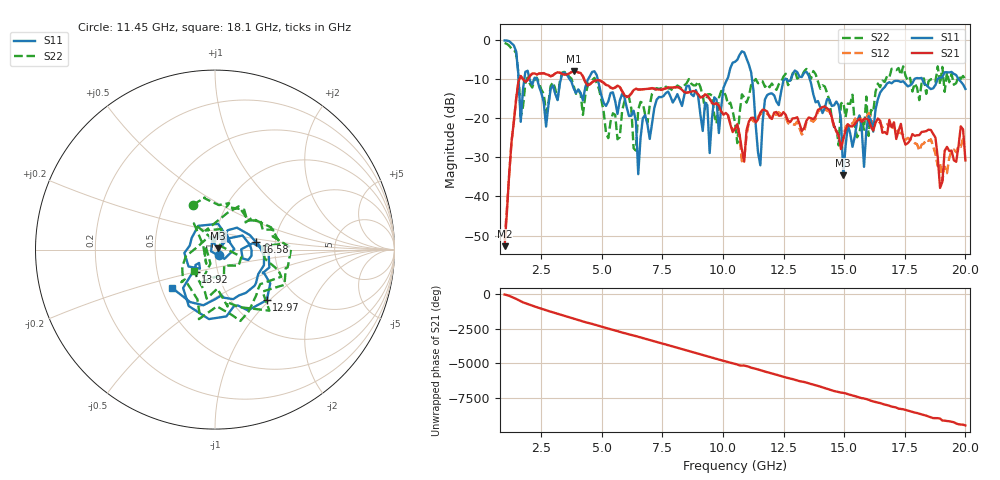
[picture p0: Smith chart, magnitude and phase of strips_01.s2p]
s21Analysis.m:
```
clear all;
close all
filename = 'strips_01.s2p';
TDM = zeros(201, 25);
TScale = linspace(0, 200/16, 201);
ExScale = 1:25;
for i = 1:9
    filename(9) = num2str(i,2);
    Fnames(i,:) = filename;
end
for i = 10:19
    filename(8) = num2str(1,2);
    filename(9) = num2str(i-10,2);
    Fnames(i,:) = filename;
end
for i = 20:25
    filename(8) = num2str(2,2);
    filename(9) = num2str(i-20,2);
    Fnames(i,:) = filename;
end 


for i = 1 : 25
    name = Fnames(i,:);
    dat = sparameters(name);
    
    s21 = dat.Parameters(2,1,:);
    x = s21;
    s21 = reshape(x,size(x,3),size(x,1)*size(x,2));
    
    td = ifft(s21);
    TDM(:,i) = td;
end

dat = sparameters('mid_air.s2p');
s21 = dat.Parameters(2,1,:);
x = s21;
s21 = reshape(x,size(x,3),size(x,1)*size(x,2));
mid_air = ifft(s21);

figure
imagesc(ExScale, TScale, db(TDM));
colorbar;
caxis([-70 -30]);
title('strips-time-position')
grid;

sub = db(TDM) - db(TDM(:,13)) * ones(1,25);
figure;
imagesc(ExScale, TScale, sub);
colorbar;
title('strips-time-position-substract-center')
caxis([-30 20]);

sub = db(TDM) - db(mid_air) * ones(1,25);
figure;
imagesc(ExScale, TScale, sub);
colorbar;
title('strips-time-position-substract-center-air')
caxis([-30 20]);
```
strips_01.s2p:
!Agilent Technologies,N5230A,MY45001629,A.07.50.67
!Agilent N5230A: A.07.50.67
!Date: Monday, June 05, 2017 16:31:58
!Correction: S11(Full 2 Port(1,2))
!S21(Full 2 Port(1,2))
!S12(Full 2 Port(1,2))
!S22(Full 2 Port(1,2))
!S2P File: Measurements: S11, S21, S12, S22:
# Hz S  dB  R 50
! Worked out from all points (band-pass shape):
!   201 points, 1 GHz to 20 GHz, reference 50 ohm
!   highest |S21| = -8.13 dB at 3.85 GHz (marker M1); lowest = -52.7 dB at 1 GHz (marker M2)
!   |S21| within 3 dB of the highest: 1.561 GHz to 4.36 GHz (2.799 GHz wide, 94.5 % of centre); 4.568 GHz to 5.1 GHz (531.7 MHz wide, 11 % of centre)
!   lowest |S11| = -34.6 dB at 14.96 GHz (marker M3), VSWR 1.04, Z = 51.7 + j0.849 ohm
!   |S11| at or under -10 dB: 4.835 GHz to 10.19 GHz (5.352 GHz wide, 71.2 % of centre); 11.2 GHz to 12.58 GHz (1.379 GHz wide, 11.6 % of centre); 13.58 GHz to 17.91 GHz (4.329 GHz wide, 27.5 % of centre)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
!   |S22| runs from -28.3 to -0.9 dB; largest |S21 - S12| = 0.04
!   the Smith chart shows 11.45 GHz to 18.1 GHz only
!   S11 on the Smith chart (normalised r, x): 11.45 GHz: 1.05, -0.06; 12.97 GHz: 1.43, -0.96; 13.92 GHz: 0.78, -0.20; 16.58 GHz: 1.58, +0.14; 18.1 GHz: 0.57, -0.27
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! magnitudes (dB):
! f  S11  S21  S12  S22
! 1 GHz  -0.2  -52.7  -51.1  -0.9
! 1.57 GHz  -9.0  -10.7  -10.7  -8.6
! 3.85 GHz  -12.5  -8.1  -8.1  -11.9
! 10.5 GHz  -5.7  -22.8  -22.7  -21.2
! 11.45 GHz  -28.8  -20.4  -19.7  -11.1
! 12.97 GHz  -7.9  -20.1  -21.7  -8.0
! 13.92 GHz  -15.7  -17.9  -18.4  -10.7
! 14.96 GHz  -34.6  -25.4  -25.2  -16.0
! 16.58 GHz  -12.7  -23.8  -22.4  -10.5
! 18.1 GHz  -9.9  -24.4  -28.3  -15.5
! 20 GHz  -12.6  -30.8  -25.3  -10.2
